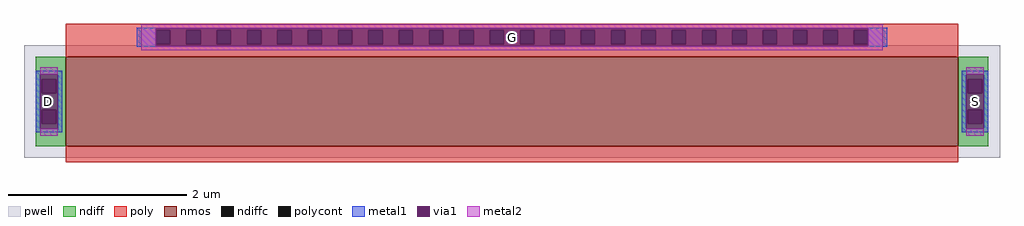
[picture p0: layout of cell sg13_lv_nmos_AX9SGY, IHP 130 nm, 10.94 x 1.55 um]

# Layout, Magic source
magic
tech ihp-sg13g2
magscale 1 2
<< pwell >>
rect -1094 -145 1094 107
<< nmos >>
rect -1000 -119 1000 81
<< ndiff >>
rect -1068 31 -1000 81
rect -1068 -1 -1054 31
rect -1022 -1 -1000 31
rect -1068 -37 -1000 -1
rect -1068 -69 -1054 -37
rect -1022 -69 -1000 -37
rect -1068 -119 -1000 -69
rect 1000 31 1068 81
rect 1000 -1 1022 31
rect 1054 -1 1068 31
rect 1000 -37 1068 -1
rect 1000 -69 1022 -37
rect 1054 -69 1068 -37
rect 1000 -119 1068 -69
<< ndiffc >>
rect -1054 -1 -1022 31
rect -1054 -69 -1022 -37
rect 1022 -1 1054 31
rect 1022 -69 1054 -37
<< poly >>
rect -1000 141 1000 155
rect -1000 109 -798 141
rect -766 109 -730 141
rect -698 109 -662 141
rect -630 109 -594 141
rect -562 109 -526 141
rect -494 109 -458 141
rect -426 109 -390 141
rect -358 109 -322 141
rect -290 109 -254 141
rect -222 109 -186 141
rect -154 109 -118 141
rect -86 109 -50 141
rect -18 109 18 141
rect 50 109 86 141
rect 118 109 154 141
rect 186 109 222 141
rect 254 109 290 141
rect 322 109 358 141
rect 390 109 426 141
rect 458 109 494 141
rect 526 109 562 141
rect 594 109 630 141
rect 662 109 698 141
rect 730 109 766 141
rect 798 109 1000 141
rect -1000 81 1000 109
rect -1000 -155 1000 -119
<< polycont >>
rect -798 109 -766 141
rect -730 109 -698 141
rect -662 109 -630 141
rect -594 109 -562 141
rect -526 109 -494 141
rect -458 109 -426 141
rect -390 109 -358 141
rect -322 109 -290 141
rect -254 109 -222 141
rect -186 109 -154 141
rect -118 109 -86 141
rect -50 109 -18 141
rect 18 109 50 141
rect 86 109 118 141
rect 154 109 186 141
rect 222 109 254 141
rect 290 109 322 141
rect 358 109 390 141
rect 426 109 458 141
rect 494 109 526 141
rect 562 109 594 141
rect 630 109 662 141
rect 698 109 730 141
rect 766 109 798 141
<< metal1 >>
rect -841 145 841 146
rect -841 105 -799 145
rect 799 105 841 145
rect -841 104 841 105
rect -1068 42 -1008 50
rect -1068 -80 -1058 42
rect -1018 -80 -1008 42
rect -1068 -88 -1008 -80
rect 1008 42 1068 50
rect 1008 -80 1018 42
rect 1058 -80 1068 42
rect 1008 -88 1068 -80
<< via1 >>
rect -799 141 799 145
rect -799 109 -798 141
rect -798 109 -766 141
rect -766 109 -730 141
rect -730 109 -698 141
rect -698 109 -662 141
rect -662 109 -630 141
rect -630 109 -594 141
rect -594 109 -562 141
rect -562 109 -526 141
rect -526 109 -494 141
rect -494 109 -458 141
rect -458 109 -426 141
rect -426 109 -390 141
rect -390 109 -358 141
rect -358 109 -322 141
rect -322 109 -290 141
rect -290 109 -254 141
rect -254 109 -222 141
rect -222 109 -186 141
rect -186 109 -154 141
rect -154 109 -118 141
rect -118 109 -86 141
rect -86 109 -50 141
rect -50 109 -18 141
rect -18 109 18 141
rect 18 109 50 141
rect 50 109 86 141
rect 86 109 118 141
rect 118 109 154 141
rect 154 109 186 141
rect 186 109 222 141
rect 222 109 254 141
rect 254 109 290 141
rect 290 109 322 141
rect 322 109 358 141
rect 358 109 390 141
rect 390 109 426 141
rect 426 109 458 141
rect 458 109 494 141
rect 494 109 526 141
rect 526 109 562 141
rect 562 109 594 141
rect 594 109 630 141
rect 630 109 662 141
rect 662 109 698 141
rect 698 109 730 141
rect 730 109 766 141
rect 766 109 798 141
rect 798 109 799 141
rect -799 105 799 109
rect -1058 31 -1018 42
rect -1058 -1 -1054 31
rect -1054 -1 -1022 31
rect -1022 -1 -1018 31
rect -1058 -37 -1018 -1
rect -1058 -69 -1054 -37
rect -1054 -69 -1022 -37
rect -1022 -69 -1018 -37
rect -1058 -80 -1018 -69
rect 1018 31 1058 42
rect 1018 -1 1022 31
rect 1022 -1 1054 31
rect 1054 -1 1058 31
rect 1018 -37 1058 -1
rect 1018 -69 1022 -37
rect 1022 -69 1054 -37
rect 1054 -69 1058 -37
rect 1018 -80 1058 -69
<< metal2 >>
rect -831 145 831 154
rect -831 105 -799 145
rect 799 105 831 145
rect -831 96 831 105
rect -1058 42 -1018 58
rect -1058 -96 -1018 -80
rect 1018 42 1058 58
rect 1018 -96 1058 -80
<< labels >>
rlabel metal1 s -1038 -19 -1038 -19 4 D
rlabel metal1 s 1038 -19 1038 -19 4 S
rlabel metal1 s 0 125 0 125 4 G
<< end >>
